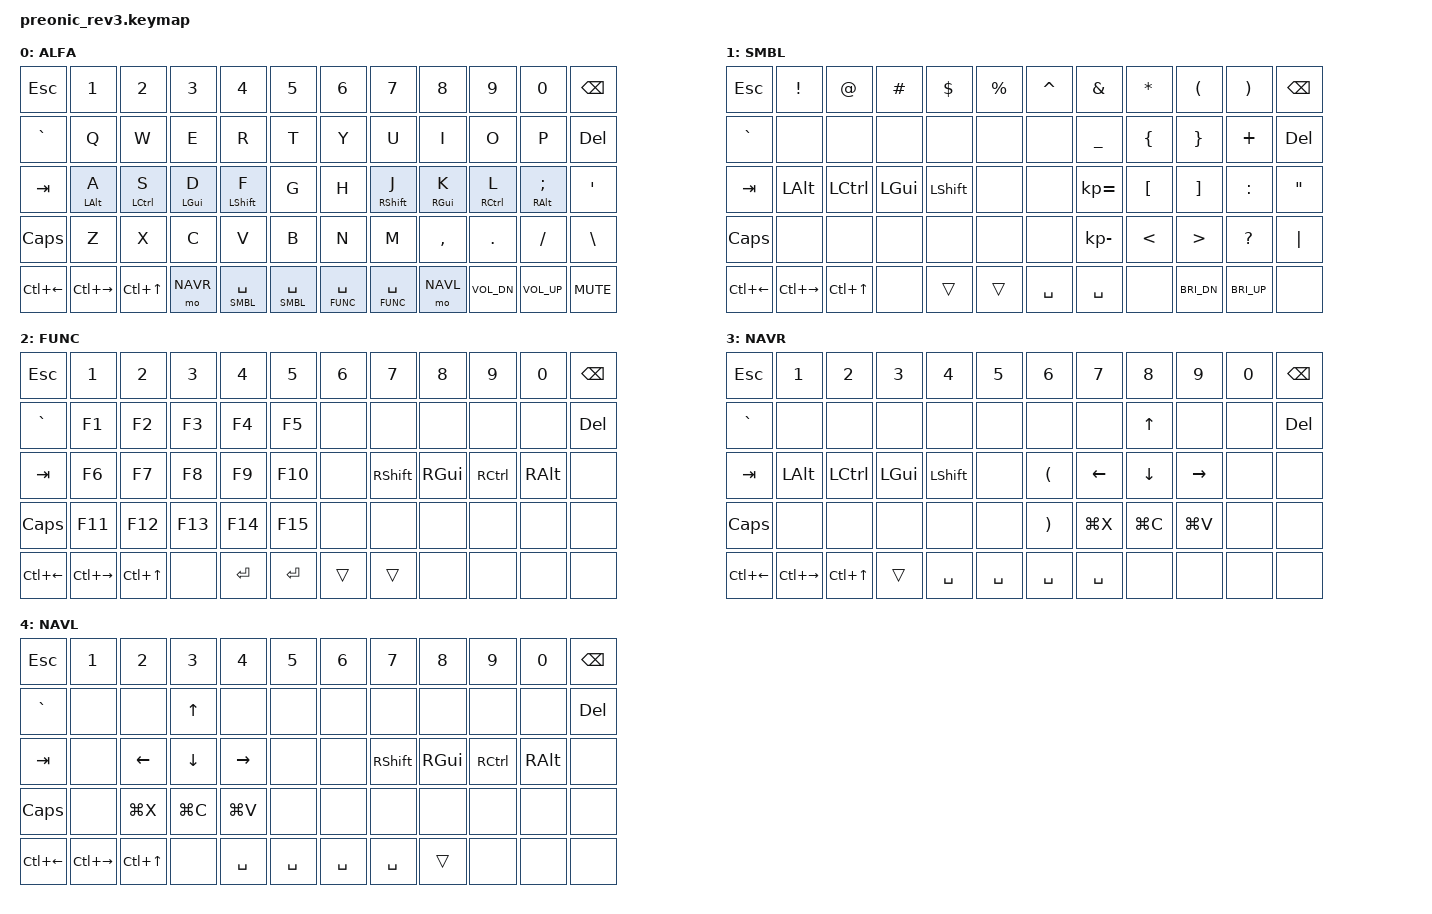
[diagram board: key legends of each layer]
#include <behaviors.dtsi>
#include <dt-bindings/zmk/keys.h>
#define ALFA 0
#define SMBL 1
#define FUNC 2
#define NAVR 3
#define NAVL 4
/ {
    behaviors {
        hm: homerow_mods {
            compatible = "zmk,behavior-hold-tap";
            label = "HOMEROW_MODS";
            #binding-cells = <2>;
            tapping-term-ms = <200>;
            quick-tap-ms = <125>;
            flavor = "tap-preferred";
            bindings = <&kp>, <&kp >;
        };
    };
    keymap {
        compatible = "zmk,keymap";
        ALFA { bindings = <
            &kp ESC         &kp N1          &kp N2       &kp N3       &kp N4           &kp N5           &kp N6           &kp N7           &kp N8       &kp N9         &kp N0           &kp BACKSPACE
            &kp GRAVE       &kp Q           &kp W        &kp E        &kp R            &kp T            &kp Y            &kp U            &kp I        &kp O          &kp P            &kp DELETE
            &kp TAB         &hm LALT A      &hm LCTRL S  &hm LGUI D   &hm LSHIFT F     &kp G            &kp H            &hm RSHIFT J     &hm RGUI K   &hm RCTRL L    &hm RALT SEMI    &kp SQT
            &kp CAPS        &kp Z           &kp X        &kp C        &kp V            &kp B            &kp N            &kp M            &kp COMMA    &kp DOT        &kp FSLH         &kp BSLH
            &kp LC(LEFT)    &kp LC(RIGHT)   &kp LC(UP)   &mo NAVR     &lt SMBL SPACE   &lt SMBL SPACE   &lt FUNC SPACE   &lt FUNC SPACE   &mo NAVL     &kp C_VOL_DN   &kp C_VOL_UP     &kp C_MUTE
            >;
        };
        SMBL { bindings = <
            &kp ESC         &kp EXCL        &kp AT       &kp HASH     &kp DOLLAR       &kp PERCENT      &kp CARET        &kp AMPS         &kp STAR     &kp LPAR       &kp RPAR         &kp BACKSPACE
            &kp GRAVE       &none           &none        &none        &none            &none            &none            &kp UNDER        &kp LBRC     &kp RBRC       &kp PLUS         &kp DELETE
            &kp TAB         &kp LALT        &kp LCTRL    &kp LGUI     &kp LSHIFT       &none            &none            &kp KP_EQUAL     &kp LBKT     &kp RBKT       &kp COLON        &kp DQT
            &kp CAPS        &none           &none        &none        &none            &none            &none            &kp KP_MINUS     &kp LT       &kp GT         &kp QMARK        &kp PIPE
            &kp LC(LEFT)    &kp LC(RIGHT)   &kp LC(UP)   &none        &trans           &trans           &kp SPACE        &kp SPACE        &none        &kp C_BRI_DN   &kp C_BRI_UP     &none
            >;
        };
        FUNC { bindings = <
            &kp ESC         &kp N1          &kp N2       &kp N3       &kp N4           &kp N5           &kp N6           &kp N7           &kp N8       &kp N9         &kp N0           &kp BACKSPACE
            &kp GRAVE       &kp F1          &kp F2       &kp F3       &kp F4           &kp F5           &none            &none            &none        &none          &none            &kp DELETE
            &kp TAB         &kp F6          &kp F7       &kp F8       &kp F9           &kp F10          &none            &kp RSHIFT       &kp RGUI     &kp RCTRL      &kp RALT         &none
            &kp CAPS        &kp F11         &kp F12      &kp F13      &kp F14          &kp F15          &none            &none            &none        &none          &none            &none
            &kp LC(LEFT)    &kp LC(RIGHT)   &kp LC(UP)   &none        &kp RET          &kp RET          &trans           &trans           &none        &none          &none            &none
            >;
        };
        NAVR { bindings = <
            &kp ESC         &kp N1          &kp N2       &kp N3       &kp N4           &kp N5           &kp N6           &kp N7           &kp N8       &kp N9         &kp N0           &kp BACKSPACE
            &kp GRAVE       &none           &none        &none        &none            &none            &none            &none            &kp UP       &none          &none            &kp DELETE
            &kp TAB         &kp LALT        &kp LCTRL    &kp LGUI     &kp LSHIFT       &none            &kp LPAR         &kp LEFT         &kp DOWN     &kp RIGHT      &none            &none
            &kp CAPS        &none           &none        &none        &none            &none            &kp RPAR         &kp LG(X)        &kp LG(C)    &kp LG(V)      &none            &none
            &kp LC(LEFT)    &kp LC(RIGHT)   &kp LC(UP)   &trans       &kp SPACE        &kp SPACE        &kp SPACE        &kp SPACE        &none        &none          &none            &none
            >;
        };
        NAVL { bindings = <
            &kp ESC         &kp N1          &kp N2       &kp N3       &kp N4           &kp N5           &kp N6           &kp N7           &kp N8       &kp N9         &kp N0           &kp BACKSPACE
            &kp GRAVE       &none           &none        &kp UP       &none            &none            &none            &none            &none        &none          &none            &kp DELETE
            &kp TAB         &none           &kp LEFT     &kp DOWN     &kp RIGHT        &none            &none            &kp RSHIFT       &kp RGUI     &kp RCTRL      &kp RALT         &none
            &kp CAPS        &none           &kp LG(X)    &kp LG(C)    &kp LG(V)        &none            &none            &none            &none        &none          &none            &none
            &kp LC(LEFT)    &kp LC(RIGHT)   &kp LC(UP)   &none        &kp SPACE        &kp SPACE        &kp SPACE        &kp SPACE        &trans       &none          &none            &none
            >;
        };
    };
};
